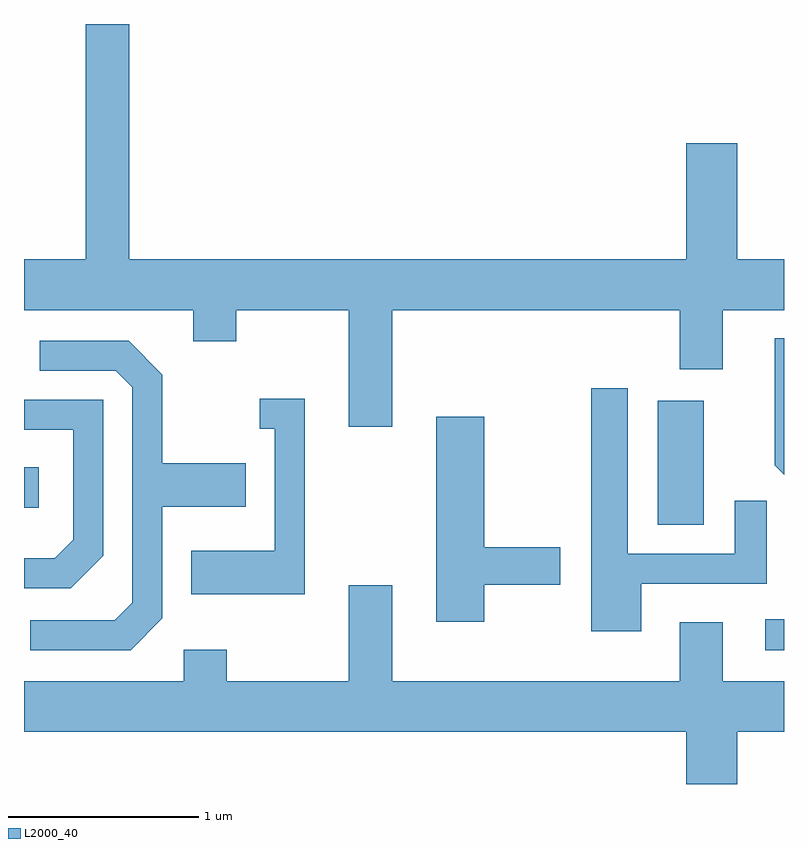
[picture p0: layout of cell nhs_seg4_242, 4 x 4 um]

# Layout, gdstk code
import gdstk
lib = gdstk.Library(unit=1e-6, precision=1e-09)
def R(c, l, rs):  # rectangles x0, y0, x1, y1
    for r in rs: c.add(gdstk.rectangle(r[:2], r[2:], *l))
def P(c, l, *ps):  # polygons
    for p in ps: c.add(gdstk.Polygon(p, *l))
L2000_40 = (2000, 40)

nhs_seg4_242 = lib.new_cell('nhs_seg4_242')
R(nhs_seg4_242, L2000_40, [(195.513,1330.686,195.611,1330.849), (194.946,1331.346,195.189,1331.999), (191.611,1331.436,191.689,1331.649)])
P(nhs_seg4_242, L2000_40, [(193.549,1332.476),(195.061,1332.476),(195.061,1332.166),(195.289,1332.166),(195.289,1332.476),(195.611,1332.476),(195.611,1332.744),(195.364,1332.744),(195.364,1333.354),(195.096,1333.354),(195.096,1332.744),(192.164,1332.744),(192.164,1333.982),(191.936,1333.982),(191.936,1332.744),(191.611,1332.744),(191.611,1332.476),(192.501,1332.476),(192.501,1332.311),(192.729,1332.311),(192.729,1332.476),(193.321,1332.476),(193.321,1331.861),(193.549,1331.861)],
  [(195.611,1332.328),(195.561,1332.328),(195.561,1331.659),(195.611,1331.609)],
  [(192.339,1330.854),(192.339,1331.441),(192.779,1331.441),(192.779,1331.669),(192.339,1331.669),(192.339,1332.137),(192.162,1332.314),(191.693,1332.314),(191.693,1332.156),(192.094,1332.156),(192.181,1332.069),(192.181,1330.937),(192.089,1330.844),(191.643,1330.844),(191.643,1330.686),(192.172,1330.686)],
  [(194.859,1331.036),(195.519,1331.036),(195.519,1331.473),(195.351,1331.473),(195.351,1331.194),(194.789,1331.194),(194.789,1332.064),(194.596,1332.064),(194.596,1330.786),(194.859,1330.786)],
  [(193.089,1332.009),(192.853,1332.009),(192.853,1331.851),(192.931,1331.851),(192.931,1331.209),(192.491,1331.209),(192.491,1330.981),(193.089,1330.981)],
  [(192.029,1331.184),(192.029,1332.004),(191.611,1332.004),(191.611,1331.846),(191.871,1331.846),(191.871,1331.267),(191.774,1331.169),(191.611,1331.169),(191.611,1331.011),(191.857,1331.011)],
  [(194.034,1331.031),(194.434,1331.031),(194.434,1331.229),(194.034,1331.229),(194.034,1331.914),(193.781,1331.914),(193.781,1330.836),(194.034,1330.836)],
  [(195.364,1330.256),(195.611,1330.256),(195.611,1330.524),(195.289,1330.524),(195.289,1330.834),(195.061,1330.834),(195.061,1330.524),(193.549,1330.524),(193.549,1331.029),(193.321,1331.029),(193.321,1330.524),(192.679,1330.524),(192.679,1330.689),(192.451,1330.689),(192.451,1330.524),(191.611,1330.524),(191.611,1330.256),(195.096,1330.256),(195.096,1329.982),(195.364,1329.982)])

lib.write_gds('nhs_seg4_242.gds')
